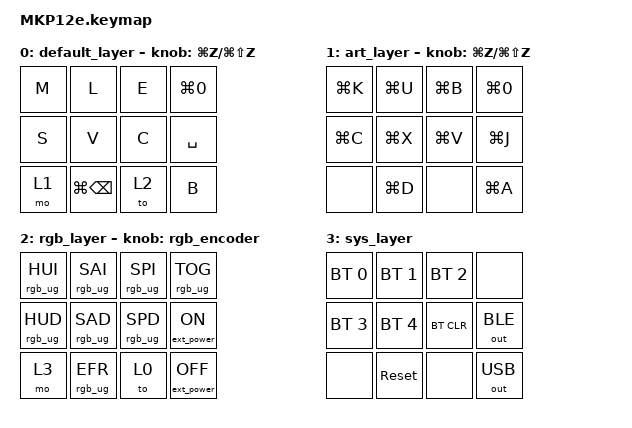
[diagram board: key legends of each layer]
/*
 * Copyright (c) 2023 The ZMK Contributors
 *
 * SPDX-License-Identifier: MIT
 */

#include <behaviors.dtsi>
#include <dt-bindings/zmk/keys.h>
#include <dt-bindings/zmk/bt.h>
#include <dt-bindings/zmk/outputs.h>
#include <dt-bindings/zmk/rgb.h>
#include <dt-bindings/zmk/ext_power.h>

// layers
#define DEFAULT 0
#define ART     1
#define RGB     2
#define SYS     3

&encoder_1 {
    status = "okay";
};

/ {
    sensors {
        compatible = "zmk,keymap-sensors";
        sensors = <&encoder_1>;
        triggers-per-rotation = <20>;
    };

    behaviors {
        rgb_encoder: rgb_encoder {
            compatible = "zmk,behavior-sensor-rotate";
            #sensor-binding-cells = <0>;
            bindings = <&rgb_ug RGB_BRI>, <&rgb_ug RGB_BRD>;
        };
    };
    
    keymap {
        compatible = "zmk,keymap";

        default_layer {
            //                               --------------
            // |-----------------------------| 撤銷 | 重做 |
            // |    滴管   | 圖層面板 |  擦子 |    全螢幕   | 
            // |  選取工具 | 變形工具 |  顏色  |    速選    |--------
            // |   快速層  |     清除圖層     |   Layer3   |  畫筆  |
            // ----------------------------------------------------
            bindings = <
                &kp M       &kp L       &kp E      &kp LG(N0)
                &kp S       &kp V       &kp C      &kp SPACE
                &mo 1           &kp LG(BSPC)        &to 2       &kp B
            >;
            sensor-bindings = <&inc_dec_kp LG(Z) LG(LS(Z))>;
        };

        art_layer {
            //                                --------------
            // |------------------------------| 撤銷 | 重做 |
            // | 操作面板 |   HSB   | 色彩調整 |    全螢幕   | 
            // |   複製  |   剪下   |   貼上   | 複製選取內容 |----------
            // |    NA   |      取消選取      |      NA     | 拷貝全部 |
            // -------------------------------------------------------
            bindings = <
                &kp LG(K)  &kp LG(U)  &kp LG(B)     &kp LG(N0)
                &kp LG(C)  &kp LG(X)  &kp LG(V)     &kp LG(J)
                &none           &kp LG(D)           &none     &kp LG(A)
            >;
            sensor-bindings = <&inc_dec_kp LG(Z) LG(LS(Z))>;
        };

        rgb_layer {
            //                               ---------------------
            // |-----------------------------| RGB_BRI | RGB_BRD |
            // | RGB_HUI | RGB_SAI | RGB_SPI |      RGB_TOG      | 
            // | RGB_HUD | RGB_SAD | RGB_SPD |       EP_ON       |-------------- 
            // | TO BT_L |      RGB_EFR      |       Layer3      |    EP_OFF   |
            // -----------------------------------------------------------------
            bindings = <
                &rgb_ug RGB_HUI &rgb_ug RGB_SAI &rgb_ug RGB_SPI     &rgb_ug RGB_TOG
                &rgb_ug RGB_HUD &rgb_ug RGB_SAD &rgb_ug RGB_SPD     &ext_power EP_ON
                &mo 3           &rgb_ug RGB_EFR                     &to 0             &ext_power EP_OFF
            >;
            sensor-bindings = <&rgb_encoder>;
        };

        sys_layer {
            //                                  ---------------------
            // |--------------------------------|    NA   |    NA   |
            // | BT_SEL 0 | BT_SEL 1 | BT_SEL 2 |         NA        | 
            // | BT_SEL 3 | BT_SEL 4 | BT_CLR   |       OUT_BLE     |------------
            // |    NA    |     sys_reset       |         NA        |  OUT_USB  |
            // ------------------------------------------------------------------
            bindings = <
                &bt BT_SEL 0 &bt BT_SEL 1 &bt BT_SEL 2     &none
                &bt BT_SEL 3 &bt BT_SEL 4 &bt BT_CLR       &out OUT_BLE
                &none            &sys_reset                &none       &out OUT_USB    
            >;
        };
    };
};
